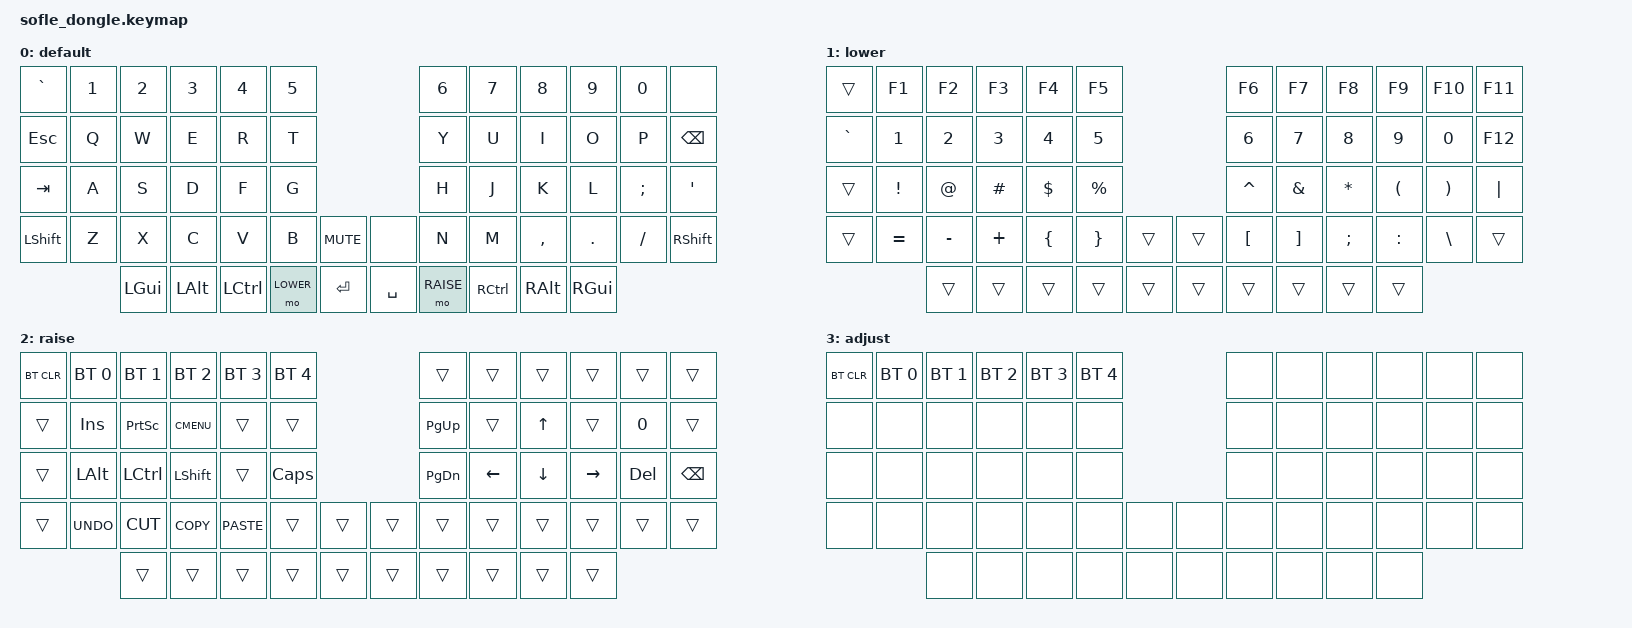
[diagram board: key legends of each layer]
/*
 * Copyright (c) 2020 The ZMK Contributors
 *
 * SPDX-License-Identifier: MIT
 */

#include <behaviors.dtsi>
#include <dt-bindings/zmk/keys.h>
#include <dt-bindings/zmk/bt.h>

#define BASE 0
#define LOWER 1
#define RAISE 2
#define ADJUST 3

/ {
	// Activate ADJUST layer by pressing raise and lower
	conditional_layers {
		compatible = "zmk,conditional-layers";
		adjust_layer {
			if-layers = <LOWER RAISE>;
			then-layer = <ADJUST>;
		};
	};

	keymap {
		compatible = "zmk,keymap";

		default_layer {
			display-name = "default";
			bindings = <
&kp GRAVE &kp N1 &kp N2   &kp N3   &kp N4    &kp N5                           &kp N6 &kp N7    &kp N8    &kp N9   &kp N0   &none
&kp ESC   &kp Q  &kp W    &kp E    &kp R     &kp T                            &kp Y  &kp U     &kp I     &kp O    &kp P    &kp BSPC
&kp TAB   &kp A  &kp S    &kp D    &kp F     &kp G                            &kp H  &kp J     &kp K     &kp L    &kp SEMI &kp SQT
&kp LSHFT &kp Z  &kp X    &kp C    &kp V     &kp B      &kp C_MUTE &none      &kp N  &kp M     &kp COMMA &kp DOT  &kp FSLH &kp RSHFT
                 &kp LGUI &kp LALT &kp LCTRL &mo LOWER  &kp RET    &kp SPACE  &mo RAISE  &kp RCTRL &kp RALT  &kp RGUI
			>;
		};

		lower_layer {
			display-name = "lower";
			bindings = <
&trans    &kp F1    &kp F2    &kp F3      &kp F4    &kp F5                    &kp F6    &kp F7   &kp F8    &kp F9    &kp F10   &kp F11
&kp GRAVE &kp N1    &kp N2    &kp N3      &kp N4    &kp N5                    &kp N6    &kp N7   &kp N8    &kp N9    &kp N0    &kp F12
&trans    &kp EXCL  &kp AT    &kp HASH    &kp DLLR  &kp PRCNT                 &kp CARET &kp AMPS &kp ASTRK &kp LPAR  &kp RPAR  &kp PIPE
&trans    &kp EQUAL &kp MINUS &kp PLUS    &kp LBRC  &kp RBRC   &trans &trans  &kp LBKT  &kp RBKT &kp SEMI  &kp COLON &kp BSLH  &trans
                    &trans    &trans      &trans    &trans     &trans &trans  &trans    &trans   &trans    &trans
			>;
		};

		raise_layer {
			display-name = "raise";
			bindings = <
&bt BT_CLR &bt BT_SEL 0 &bt BT_SEL 1 &bt BT_SEL 2 &bt BT_SEL 3 &bt BT_SEL 4                  &trans    &trans    &trans   &trans    &trans  &trans
&trans     &kp INS      &kp PSCRN    &kp K_CMENU  &trans       &trans                        &kp PG_UP &trans    &kp UP   &trans    &kp N0  &trans
&trans     &kp LALT     &kp LCTRL    &kp LSHFT    &trans       &kp CLCK                      &kp PG_DN &kp LEFT  &kp DOWN &kp RIGHT &kp DEL &kp BSPC
&trans     &kp K_UNDO   &kp K_CUT    &kp K_COPY   &kp K_PASTE  &trans        &trans  &trans  &trans    &trans    &trans   &trans    &trans  &trans
                        &trans       &trans       &trans       &trans        &trans  &trans  &trans    &trans    &trans   &trans
			>;
		};

		adjust_layer {
			display-name = "adjust";
			bindings = <
&bt BT_CLR &bt BT_SEL 0 &bt BT_SEL 1 &bt BT_SEL 2 &bt BT_SEL 3 &bt BT_SEL 4                  &none &none &none &none &none &none
&none      &none        &none        &none        &none        &none                         &none &none &none &none &none &none
&none      &none        &none        &none        &none        &none                         &none &none &none &none &none &none
&none      &none        &none        &none        &none        &none        &none     &none  &none &none &none &none &none &none
                        &none        &none        &none        &none        &none     &none  &none &none &none &none
			>;
		};
	};
};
